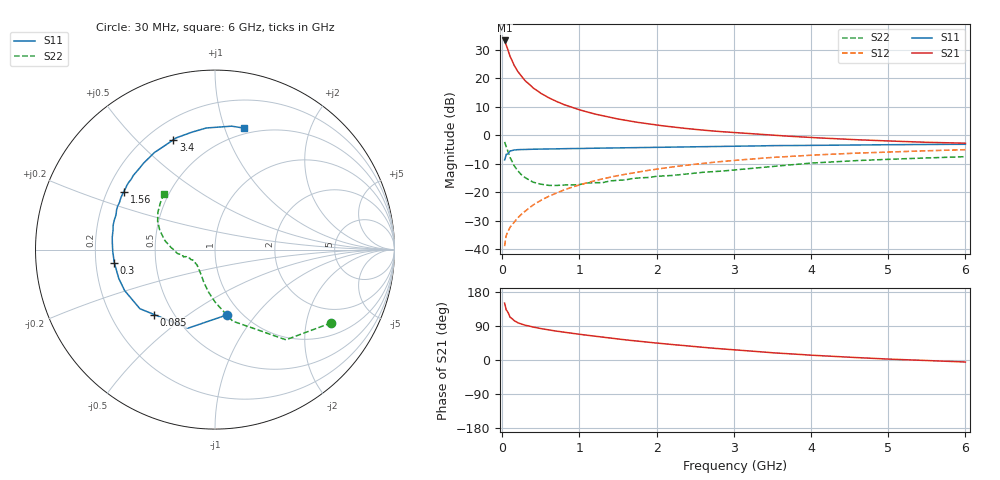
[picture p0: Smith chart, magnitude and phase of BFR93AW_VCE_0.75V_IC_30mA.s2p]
! Infineon Technologies  Discrete & RF Semiconductors
! BFR93AW
! VCE = 0.75 V,  IC =  30 mA
! Common Emitter S-Parameters:  Nov 2015
# GHz  S  MA  R  50
!  f  S11  S21  S12  S22
! GHz  MAG  ANG  MAG  ANG  MAG  ANG  MAG  ANG
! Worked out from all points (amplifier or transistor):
!   206 points, 30 MHz to 6 GHz, reference 50 ohm
!   highest |S21| = 33.3 dB at 30 MHz (marker M1)
!   |S21| within 3 dB of that: start of sweep to 69.34 MHz
!   unconditionally stable (mu >= 1): 358.5 MHz to 3.186 GHz
!   at 200 MHz: K = 0.86, MSG = 25.7 dB, |S12| = -29.0 dB
!   at 1.56 GHz: K = 1.08, MAG = 8.0 dB, |S12| = -13.8 dB
!   at 6 GHz: K = 1.00, MSG = 1.1 dB, |S12| = -5.0 dB
!   S11 on the Smith chart (normalised r, x): 30 MHz: 0.86, -0.73; 85 MHz: 0.39, -0.38; 300 MHz: 0.28, -0.06; 1.56 GHz: 0.27, +0.27; 3.4 GHz: 0.30, +0.65; 6 GHz: 0.44, +1.16
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0.03  0.3698 -79.6  46.34 150.0  0.0113 69.6  0.7659 -32.2
0.05  0.4633 -109.0  38.7 132.6  0.0172 60.7  0.6395 -51.8
0.085  0.4954 -133.1  28.34 121.0  0.0221 57.4  0.4689 -66.4
0.1  0.5325 -141.8  24.48 113.1  0.0242 56.4  0.4106 -76.1
0.15  0.5528 -155.6  17.22 104.1  0.0292 58.5  0.2973 -89.3
0.2  0.5597 -163.3  13.25 98.4  0.0354 60.3  0.2386 -98.8
0.24  0.5612 -167.9  11.21 95.5  0.0401 62.4  0.208 -105.0
0.26  0.5627 -169.8  10.36 94.1  0.0424 63.3  0.1963 -107.9
0.3  0.5657 -172.6  8.984 91.5  0.0468 64.9  0.1792 -112.6
0.4  0.5697 -178.8  6.781 86.8  0.0597 67.3  0.1502 -123.4
0.5  0.5729 176.7  5.459 82.8  0.0719 68.9  0.1387 -132.6
0.6  0.5766 173.2  4.572 79.5  0.0847 69.4  0.1321 -138.4
0.8  0.5835 166.5  3.46 73.3  0.1098 69.0  0.1346 -148.9
1.04  0.5869 159.8  2.708 66.8  0.1395 67.7  0.1399 -155.7
1.28  0.5934 154.1  2.237 60.7  0.1695 65.7  0.1474 -160.6
1.56  0.6018 147.5  1.871 54.1  0.2031 62.9  0.1639 -165.3
2.02  0.6148 137.4  1.502 44.2  0.2568 58.1  0.1914 -169.7
3.1  0.6426 116.2  1.092 25.4  0.3712 45.4  0.2523 175.6
3.4  0.6541 110.8  1.024 20.8  0.3995 41.8  0.2758 171.0
4.1  0.6685 99.7  0.901 11.7  0.4548 33.4  0.3309 159.4
5.1  0.6852 86.8  0.787 1.7  0.5139 22.5  0.3835 145.4
6  0.6956 76.8  0.727 -5.3  0.5592 13.8  0.4219 132.4
